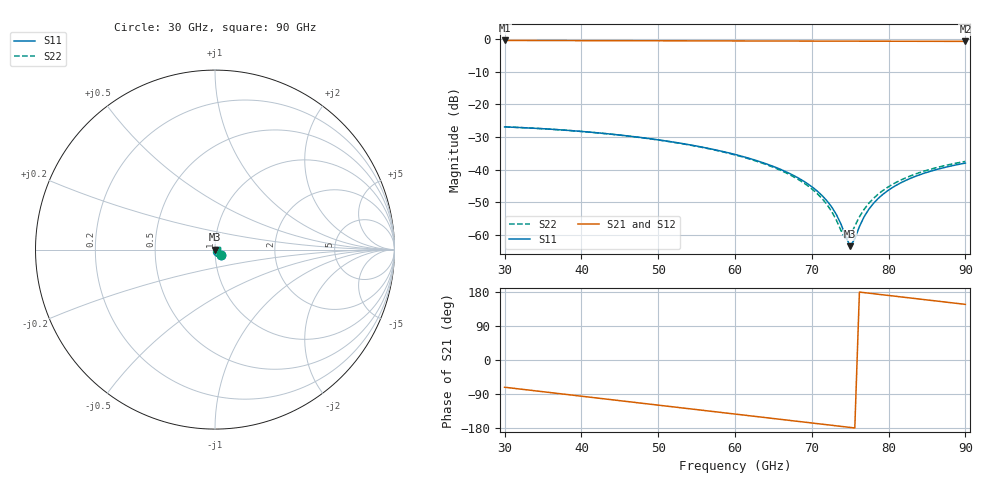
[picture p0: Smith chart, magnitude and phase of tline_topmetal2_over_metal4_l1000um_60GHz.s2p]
#  GHZ S DB R 50
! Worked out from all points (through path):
!   101 points, 30 GHz to 90 GHz, reference 50 ohm
!   highest |S21| = -0.49 dB at 30 GHz (marker M1); lowest = -0.8 dB at 90 GHz (marker M2)
!   group delay of S21, straight-line fit = 6.54 ps
!   lowest |S11| = -63.4 dB at 75 GHz (marker M3), VSWR 1.00, Z = 50 - j0.0633 ohm
!   |S11| at or under -10 dB: start of sweep to end of sweep
!   |S22| runs from -61.3 to -26.9 dB; largest |S21 - S12| = 1.1e-14
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30  -26.93 -46.5  -0.49 -71.9  -0.49 -71.9  -26.94 -46.6
35.4  -27.55 -59.2  -0.52 -84.7  -0.52 -84.7  -27.56 -59.3
40.2  -28.36 -70.5  -0.54 -96.0  -0.54 -96.0  -28.37 -70.5
45  -29.43 -81.8  -0.56 -107.3  -0.56 -107.3  -29.46 -81.8
50.4  -31.02 -94.4  -0.59 -120.0  -0.59 -120.0  -31.07 -94.4
60  -35.36 -116.5  -0.63 -142.7  -0.63 -142.7  -35.50 -116.3
66  -39.99 -129.3  -0.66 -156.8  -0.66 -156.8  -40.30 -128.6
68.4  -42.77 -133.6  -0.67 -162.4  -0.67 -162.4  -43.24 -132.3
70.2  -45.59 -135.9  -0.68 -166.7  -0.68 -166.7  -46.28 -133.7
71.4  -48.08 -136.3  -0.69 -169.5  -0.69 -169.5  -49.02 -132.8
72.6  -51.47 -134.5  -0.69 -172.3  -0.69 -172.3  -52.86 -127.8
73.8  -56.65 -124.7  -0.70 -175.1  -0.70 -175.1  -58.61 -106.5
74.4  -60.40 -108.6  -0.70 -176.5  -0.70 -176.5  -61.30 -75.7
75  -63.42 -69.6  -0.70 -177.9  -0.70 -177.9  -60.37 -36.9
75.6  -61.17 -26.6  -0.71 -179.4  -0.71 -179.4  -57.27 -14.7
76.2  -57.42 -7.7  -0.71 179.2  -0.71 179.2  -54.45 -4.6
77.4  -52.22 3.5  -0.71 176.4  -0.71 176.4  -50.38 2.8
78.6  -48.93 5.7  -0.72 173.6  -0.72 173.6  -47.59 4.4
80.4  -45.63 4.8  -0.73 169.4  -0.73 169.4  -44.66 3.4
82.2  -43.34 2.2  -0.73 165.1  -0.73 165.1  -42.55 0.9
84.6  -41.14 -2.3  -0.74 159.5  -0.74 159.5  -40.48 -3.6
90  -38.01 -13.9  -0.77 146.8  -0.77 146.8  -37.50 -15.1
